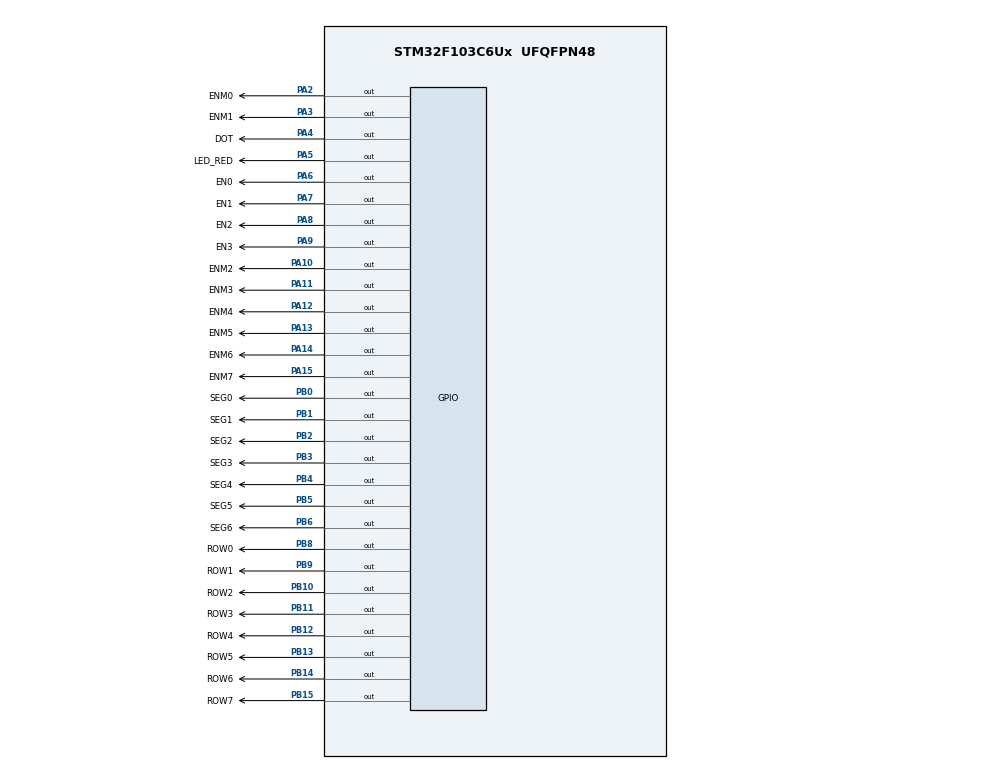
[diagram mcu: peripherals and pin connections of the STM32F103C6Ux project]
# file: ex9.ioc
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Mcu.Family=STM32F1
Mcu.Name=STM32F103C6Ux
Mcu.Package=UFQFPN48
NVIC.PriorityGroup=NVIC_PRIORITYGROUP_4
NVIC.TIM2_IRQn=true\:0\:0\:false\:false\:true\:true\:true
PA10.GPIO_Label=ENM2
PA10.Signal=GPIO_Output
PA11.GPIO_Label=ENM3
PA11.Signal=GPIO_Output
PA12.GPIO_Label=ENM4
PA12.Signal=GPIO_Output
PA13.GPIO_Label=ENM5
PA13.Signal=GPIO_Output
PA14.GPIO_Label=ENM6
PA14.Signal=GPIO_Output
PA15.GPIO_Label=ENM7
PA15.Signal=GPIO_Output
PA2.GPIO_Label=ENM0
PA2.Signal=GPIO_Output
PA3.GPIO_Label=ENM1
PA3.Signal=GPIO_Output
PA4.GPIO_Label=DOT
PA4.Signal=GPIO_Output
PA5.GPIO_Label=LED_RED
PA5.Signal=GPIO_Output
PA6.GPIO_Label=EN0
PA6.Signal=GPIO_Output
PA7.GPIO_Label=EN1
PA7.Signal=GPIO_Output
PA8.GPIO_Label=EN2
PA8.Signal=GPIO_Output
PA9.GPIO_Label=EN3
PA9.Signal=GPIO_Output
PB0.GPIO_Label=SEG0
PB0.Signal=GPIO_Output
PB1.GPIO_Label=SEG1
PB1.Signal=GPIO_Output
PB10.GPIO_Label=ROW2
PB10.Signal=GPIO_Output
PB11.GPIO_Label=ROW3
PB11.Signal=GPIO_Output
PB12.GPIO_Label=ROW4
PB12.Signal=GPIO_Output
PB13.GPIO_Label=ROW5
PB13.Signal=GPIO_Output
PB14.GPIO_Label=ROW6
PB14.Signal=GPIO_Output
PB15.GPIO_Label=ROW7
PB15.Signal=GPIO_Output
PB2.GPIO_Label=SEG2
PB2.Signal=GPIO_Output
PB3.GPIO_Label=SEG3
PB3.Signal=GPIO_Output
PB4.GPIO_Label=SEG4
PB4.Signal=GPIO_Output
PB5.GPIO_Label=SEG5
PB5.Signal=GPIO_Output
PB6.GPIO_Label=SEG6
PB6.Signal=GPIO_Output
PB8.GPIO_Label=ROW0
PB8.Signal=GPIO_Output
PB9.GPIO_Label=ROW1
PB9.Signal=GPIO_Output
ProjectManager.HeapSize=0x200
ProjectManager.StackSize=0x400
ProjectManager.TargetToolchain=STM32CubeIDE
RCC.APB1Freq_Value=8000000
RCC.APB2Freq_Value=8000000
TIM2.Period=9
TIM2.Prescaler=7999
VP_SYS_VS_ND.Mode=No_Debug
VP_TIM2_VS_ClockSourceINT.Mode=Internal
board=custom

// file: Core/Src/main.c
/* USER CODE BEGIN Header */
/**
  ******************************************************************************
  * @file           : main.c
  * @brief          : Main program body
  ******************************************************************************
  * @attention
  *
  * <h2><center>&copy; Copyright (c) 2023 STMicroelectronics.
  * All rights reserved.</center></h2>
  *
  * This software component is licensed by ST under BSD 3-Clause license,
  * the "License"; You may not use this file except in compliance with the
  * License. You may obtain a copy of the License at:
  *                        opensource.org/licenses/BSD-3-Clause
  *
  ******************************************************************************
  */
/* USER CODE END Header */
#include "main.h"

/* USER CODE BEGIN Includes */
#include "software_timer.h"
/* USER CODE END Includes */

TIM_HandleTypeDef htim2;

void SystemClock_Config(void);
static void MX_GPIO_Init(void);
static void MX_TIM2_Init(void);

/* USER CODE BEGIN 0 */
void display7SEG (int num, GPIO_TypeDef* LEDa_GPIO_Port, uint16_t LEDa_Pin,
		  GPIO_TypeDef* LEDb_GPIO_Port, uint16_t LEDb_Pin,
		  GPIO_TypeDef* LEDc_GPIO_Port, uint16_t LEDc_Pin,
		  GPIO_TypeDef* LEDd_GPIO_Port, uint16_t LEDd_Pin,
		  GPIO_TypeDef* LEDe_GPIO_Port, uint16_t LEDe_Pin,
		  GPIO_TypeDef* LEDf_GPIO_Port, uint16_t LEDf_Pin,
		  GPIO_TypeDef* LEDg_GPIO_Port, uint16_t LEDg_Pin)
{
	  switch(num)
	  {
	  case 0:
		  HAL_GPIO_WritePin(LEDa_GPIO_Port, LEDa_Pin, GPIO_PIN_RESET);
		  HAL_GPIO_WritePin(LEDb_GPIO_Port, LEDb_Pin, GPIO_PIN_RESET);
		  HAL_GPIO_WritePin(LEDc_GPIO_Port, LEDc_Pin, GPIO_PIN_RESET);
		  HAL_GPIO_WritePin(LEDd_GPIO_Port, LEDd_Pin, GPIO_PIN_RESET);
		  HAL_GPIO_WritePin(LEDe_GPIO_Port, LEDe_Pin, GPIO_PIN_RESET);
		  HAL_GPIO_WritePin(LEDf_GPIO_Port, LEDf_Pin, GPIO_PIN_RESET);
		  HAL_GPIO_WritePin(LEDg_GPIO_Port, LEDg_Pin, GPIO_PIN_SET);
		  break;
	  case 1:
		  HAL_GPIO_WritePin(LEDa_GPIO_Port, LEDa_Pin, GPIO_PIN_SET);
		  HAL_GPIO_WritePin(LEDb_GPIO_Port, LEDb_Pin, GPIO_PIN_RESET);
		  HAL_GPIO_WritePin(LEDc_GPIO_Port, LEDc_Pin, GPIO_PIN_RESET);
		  HAL_GPIO_WritePin(LEDd_GPIO_Port, LEDd_Pin, GPIO_PIN_SET);
		  HAL_GPIO_WritePin(LEDe_GPIO_Port, LEDe_Pin, GPIO_PIN_SET);
		  HAL_GPIO_WritePin(LEDf_GPIO_Port, LEDf_Pin, GPIO_PIN_SET);
		  HAL_GPIO_WritePin(LEDg_GPIO_Port, LEDg_Pin, GPIO_PIN_SET);
		  break;
	  case 2:
		  HAL_GPIO_WritePin(LEDa_GPIO_Port, LEDa_Pin, GPIO_PIN_RESET);
		  HAL_GPIO_WritePin(LEDb_GPIO_Port, LEDb_Pin, GPIO_PIN_RESET);
		  HAL_GPIO_WritePin(LEDc_GPIO_Port, LEDc_Pin, GPIO_PIN_SET);
		  HAL_GPIO_WritePin(LEDd_GPIO_Port, LEDd_Pin, GPIO_PIN_RESET);
		  HAL_GPIO_WritePin(LEDe_GPIO_Port, LEDe_Pin, GPIO_PIN_RESET);
		  HAL_GPIO_WritePin(LEDf_GPIO_Port, LEDf_Pin, GPIO_PIN_SET);
		  HAL_GPIO_WritePin(LEDg_GPIO_Port, LEDg_Pin, GPIO_PIN_RESET);
		  break;
	  case 3:
		  HAL_GPIO_WritePin(LEDa_GPIO_Port, LEDa_Pin, GPIO_PIN_RESET);
		  HAL_GPIO_WritePin(LEDb_GPIO_Port, LEDb_Pin, GPIO_PIN_RESET);
		  HAL_GPIO_WritePin(LEDc_GPIO_Port, LEDc_Pin, GPIO_PIN_RESET);
		  HAL_GPIO_WritePin(LEDd_GPIO_Port, LEDd_Pin, GPIO_PIN_RESET);
		  HAL_GPIO_WritePin(LEDe_GPIO_Port, LEDe_Pin, GPIO_PIN_SET);
		  HAL_GPIO_WritePin(LEDf_GPIO_Port, LEDf_Pin, GPIO_PIN_SET);
		  HAL_GPIO_WritePin(LEDg_GPIO_Port, LEDg_Pin, GPIO_PIN_RESET);
		  break;
	  case 4:
		  HAL_GPIO_WritePin(LEDa_GPIO_Port, LEDa_Pin, GPIO_PIN_SET);
		  HAL_GPIO_WritePin(LEDb_GPIO_Port, LEDb_Pin, GPIO_PIN_RESET);
		  HAL_GPIO_WritePin(LEDc_GPIO_Port, LEDc_Pin, GPIO_PIN_RESET);
		  HAL_GPIO_WritePin(LEDd_GPIO_Port, LEDd_Pin, GPIO_PIN_SET);
		  HAL_GPIO_WritePin(LEDe_GPIO_Port, LEDe_Pin, GPIO_PIN_SET);
		  HAL_GPIO_WritePin(LEDf_GPIO_Port, LEDf_Pin, GPIO_PIN_RESET);
		  HAL_GPIO_WritePin(LEDg_GPIO_Port, LEDg_Pin, GPIO_PIN_RESET);
		  break;
	  case 5:
		  HAL_GPIO_WritePin(LEDa_GPIO_Port, LEDa_Pin, GPIO_PIN_RESET);
		  HAL_GPIO_WritePin(LEDb_GPIO_Port, LEDb_Pin, GPIO_PIN_SET);
		  HAL_GPIO_WritePin(LEDc_GPIO_Port, LEDc_Pin, GPIO_PIN_RESET);
		  HAL_GPIO_WritePin(LEDd_GPIO_Port, LEDd_Pin, GPIO_PIN_RESET);
		  HAL_GPIO_WritePin(LEDe_GPIO_Port, LEDe_Pin, GPIO_PIN_SET);
		  HAL_GPIO_WritePin(LEDf_GPIO_Port, LEDf_Pin, GPIO_PIN_RESET);
		  HAL_GPIO_WritePin(LEDg_GPIO_Port, LEDg_Pin, GPIO_PIN_RESET);
		  break;
	  case 6:
		  HAL_GPIO_WritePin(LEDa_GPIO_Port, LEDa_Pin, GPIO_PIN_RESET);
		  HAL_GPIO_WritePin(LEDb_GPIO_Port, LEDb_Pin, GPIO_PIN_SET);
		  HAL_GPIO_WritePin(LEDc_GPIO_Port, LEDc_Pin, GPIO_PIN_RESET);
		  HAL_GPIO_WritePin(LEDd_GPIO_Port, LEDd_Pin, GPIO_PIN_RESET);
		  HAL_GPIO_WritePin(LEDe_GPIO_Port, LEDe_Pin, GPIO_PIN_RESET);
		  HAL_GPIO_WritePin(LEDf_GPIO_Port, LEDf_Pin, GPIO_PIN_RESET);
		  HAL_GPIO_WritePin(LEDg_GPIO_Port, LEDg_Pin, GPIO_PIN_RESET);
		  break;
	  case 7:
		  HAL_GPIO_WritePin(LEDa_GPIO_Port, LEDa_Pin, GPIO_PIN_RESET);
		  HAL_GPIO_WritePin(LEDb_GPIO_Port, LEDb_Pin, GPIO_PIN_RESET);
		  HAL_GPIO_WritePin(LEDc_GPIO_Port, LEDc_Pin, GPIO_PIN_RESET);
		  HAL_GPIO_WritePin(LEDd_GPIO_Port, LEDd_Pin, GPIO_PIN_SET);
		  HAL_GPIO_WritePin(LEDe_GPIO_Port, LEDe_Pin, GPIO_PIN_SET);
		  HAL_GPIO_WritePin(LEDf_GPIO_Port, LEDf_Pin, GPIO_PIN_SET);
		  HAL_GPIO_WritePin(LEDg_GPIO_Port, LEDg_Pin, GPIO_PIN_SET);
		  break;
	  case 8:
		  HAL_GPIO_WritePin(LEDa_GPIO_Port, LEDa_Pin, GPIO_PIN_RESET);
		  HAL_GPIO_WritePin(LEDb_GPIO_Port, LEDb_Pin, GPIO_PIN_RESET);
		  HAL_GPIO_WritePin(LEDc_GPIO_Port, LEDc_Pin, GPIO_PIN_RESET);
		  HAL_GPIO_WritePin(LEDd_GPIO_Port, LEDd_Pin, GPIO_PIN_RESET);
		  HAL_GPIO_WritePin(LEDe_GPIO_Port, LEDe_Pin, GPIO_PIN_RESET);
		  HAL_GPIO_WritePin(LEDf_GPIO_Port, LEDf_Pin, GPIO_PIN_RESET);
		  HAL_GPIO_WritePin(LEDg_GPIO_Port, LEDg_Pin, GPIO_PIN_RESET);
		  break;
	  case 9:
		  HAL_GPIO_WritePin(LEDa_GPIO_Port, LEDa_Pin, GPIO_PIN_RESET);
		  HAL_GPIO_WritePin(LEDb_GPIO_Port, LEDb_Pin, GPIO_PIN_RESET);
		  HAL_GPIO_WritePin(LEDc_GPIO_Port, LEDc_Pin, GPIO_PIN_RESET);
		  HAL_GPIO_WritePin(LEDd_GPIO_Port, LEDd_Pin, GPIO_PIN_RESET);
		  HAL_GPIO_WritePin(LEDe_GPIO_Port, LEDe_Pin, GPIO_PIN_SET);
		  HAL_GPIO_WritePin(LEDf_GPIO_Port, LEDf_Pin, GPIO_PIN_RESET);
		  HAL_GPIO_WritePin(LEDg_GPIO_Port, LEDg_Pin, GPIO_PIN_RESET);
		  break;
	  }
}
/* USER CODE END 0 */

int main(void)
{
  /* USER CODE BEGIN 1 */
	  setTimer(50, 0);
	  setTimer(100, 1);
	  setTimer(10, 2);
	  setTimer(10, 3);

  /* USER CODE END 1 */

  /* MCU Configuration--------------------------------------------------------*/

  /* Reset of all peripherals, Initializes the Flash interface and the Systick. */
  HAL_Init();

  /* Configure the system clock */
  SystemClock_Config();

  /* Initialize all configured peripherals */
  MX_GPIO_Init();
  MX_TIM2_Init();
  /* USER CODE BEGIN 2 */
    HAL_TIM_Base_Start_IT(&htim2);
    const int MAX_LED = 4;
    int index_led = 0;
    int led_buffer [4] = {1 , 5 , 0 , 8};
    void update7SEG(int index){
      	switch (index) {
      		case 0:
      			HAL_GPIO_WritePin(EN0_GPIO_Port, EN0_Pin, RESET);
      			HAL_GPIO_WritePin(EN1_GPIO_Port, EN1_Pin, SET);
      			HAL_GPIO_WritePin(EN2_GPIO_Port, EN2_Pin, SET);
      			HAL_GPIO_WritePin(EN3_GPIO_Port, EN3_Pin, SET);
      			break;
      		case 1:
      			HAL_GPIO_WritePin(EN0_GPIO_Port, EN0_Pin, SET);
      			HAL_GPIO_WritePin(EN1_GPIO_Port, EN1_Pin, RESET);
      			HAL_GPIO_WritePin(EN2_GPIO_Port, EN2_Pin, SET);
      			HAL_GPIO_WritePin(EN3_GPIO_Port, EN3_Pin, SET);
      			break;
      		case 2:
      			HAL_GPIO_WritePin(EN0_GPIO_Port, EN0_Pin, SET);
      			HAL_GPIO_WritePin(EN1_GPIO_Port, EN1_Pin, SET);
      			HAL_GPIO_WritePin(EN2_GPIO_Port, EN2_Pin, RESET);
      			HAL_GPIO_WritePin(EN3_GPIO_Port, EN3_Pin, SET);
      			break;
      		case 3:
      			HAL_GPIO_WritePin(EN0_GPIO_Port, EN0_Pin, SET);
      			HAL_GPIO_WritePin(EN1_GPIO_Port, EN1_Pin, SET);
      			HAL_GPIO_WritePin(EN2_GPIO_Port, EN2_Pin, SET);
      			HAL_GPIO_WritePin(EN3_GPIO_Port, EN3_Pin, RESET);
      			break;
      		default:
      			break;
      	}
      	display7SEG(led_buffer[index],SEG0_GPIO_Port, SEG0_Pin,
      			SEG1_GPIO_Port, SEG1_Pin,
      			SEG2_GPIO_Port, SEG2_Pin,
      			SEG3_GPIO_Port, SEG3_Pin,
      			SEG4_GPIO_Port, SEG4_Pin,
      			SEG5_GPIO_Port, SEG5_Pin,
      			SEG6_GPIO_Port, SEG6_Pin);
      }
      int hour=15, minute=8, second=50;
      void updateClockBuffer(){
        led_buffer[0]=hour/10;
        led_buffer[1]=hour%10;
        led_buffer[2]=minute/10;
        led_buffer[3]=minute%10;
      }
      void clearCols(){
      	HAL_GPIO_WritePin(GPIOA, ENM0_Pin, SET);
      	HAL_GPIO_WritePin(GPIOA, ENM1_Pin, SET);
      	HAL_GPIO_WritePin(GPIOA, ENM2_Pin, SET);
      	HAL_GPIO_WritePin(GPIOA, ENM3_Pin, SET);
      	HAL_GPIO_WritePin(GPIOA, ENM4_Pin, SET);
      	HAL_GPIO_WritePin(GPIOA, ENM5_Pin, SET);
      	HAL_GPIO_WritePin(GPIOA, ENM6_Pin, SET);
      	HAL_GPIO_WritePin(GPIOA, ENM7_Pin, SET);
      }
      void clearRows(){
      	HAL_GPIO_WritePin(GPIOB, ROW0_Pin, SET);
      	HAL_GPIO_WritePin(GPIOB, ROW1_Pin, SET);
      	HAL_GPIO_WritePin(GPIOB, ROW2_Pin, SET);
      	HAL_GPIO_WritePin(GPIOB, ROW3_Pin, SET);
      	HAL_GPIO_WritePin(GPIOB, ROW4_Pin, SET);
      	HAL_GPIO_WritePin(GPIOB, ROW5_Pin, SET);
      	HAL_GPIO_WritePin(GPIOB, ROW6_Pin, SET);
      	HAL_GPIO_WritePin(GPIOB, ROW7_Pin, SET);
      }
      void setRow(uint8_t code){
    	  if((code >> 0) & 0x01)
    		  HAL_GPIO_WritePin(ROW7_GPIO_Port, ROW7_Pin, RESET);
    	  if((code >> 1) & 0x01)
    		  HAL_GPIO_WritePin(ROW6_GPIO_Port, ROW6_Pin, RESET);
    	  if((code >> 2) & 0x01)
    		  HAL_GPIO_WritePin(ROW5_GPIO_Port, ROW5_Pin, RESET);
    	  if((code >> 3) & 0x01)
    		  HAL_GPIO_WritePin(ROW4_GPIO_Port, ROW4_Pin, RESET);
    	  if((code >> 4) & 0x01)
    		  HAL_GPIO_WritePin(ROW3_GPIO_Port, ROW3_Pin, RESET);
		  if((code >> 5) & 0x01)
			  HAL_GPIO_WritePin(ROW2_GPIO_Port, ROW2_Pin, RESET);
		  if((code >> 6) & 0x01)
			  HAL_GPIO_WritePin(ROW1_GPIO_Port, ROW1_Pin, RESET);
		  if((code >> 7) & 0x01)
			  HAL_GPIO_WritePin(ROW0_GPIO_Port, ROW0_Pin, RESET);
      }
      const int MAX_LED_MATRIX = 8;
      int index_led_matrix = 0;
      uint8_t matrix_buffer[8] = {0x18,0x3C,0x66,0x66,0x7E,0x66,0x66,0x66};
      void updateLEDMatrix(int index_led_matrix){
    	  	clearCols();
      		clearRows();
      		switch(index_led_matrix){
      		case 0:
      			HAL_GPIO_WritePin(GPIOA, ENM0_Pin, RESET);
      			break;
      		case 1:
      			HAL_GPIO_WritePin(GPIOA, ENM1_Pin, RESET);
      			break;
      		case 2:
      			HAL_GPIO_WritePin(GPIOA, ENM2_Pin, RESET);
      			break;
      		case 3:
      			HAL_GPIO_WritePin(GPIOA, ENM3_Pin, RESET);
      			break;
      		case 4:
      			HAL_GPIO_WritePin(GPIOA, ENM4_Pin, RESET);
      			break;
      		case 5:
      			HAL_GPIO_WritePin(GPIOA, ENM5_Pin, RESET);
      			break;
      		case 6:
      			HAL_GPIO_WritePin(GPIOA, ENM6_Pin, RESET);
      			break;
      		case 7:
      			HAL_GPIO_WritePin(GPIOA, ENM7_Pin, RESET);
      			break;
      		default:
      			break;
      	}
      	setRow(matrix_buffer[index_led_matrix]);
      }
  /* USER CODE END 2 */

  /* Infinite loop */
  /* USER CODE BEGIN WHILE */
  while (1)
  {
	  if (timer_flag[0] == 1)
	  {
	  		HAL_GPIO_TogglePin(DOT_GPIO_Port, DOT_Pin);
	  		HAL_GPIO_TogglePin(LED_RED_GPIO_Port, LED_RED_Pin);
	  		setTimer(50,0);
	  }
	  if (timer_flag[1] == 1)
	  {
	  		second++;
	  		if (second >= 60)
	  		{
	  			second = 0;
	  		  	minute++;
	  		}
	  		if (minute >= 60)
	  		{
	  		  	hour++;
	  		  	minute = 0;
	  		}
	  		if (hour >= 24) hour = 0;

	  		updateClockBuffer();
	  		setTimer(100,1);
	  }
	  if (timer_flag[2] == 1)
	  {
	  		update7SEG(index_led++);
	  		if(index_led == MAX_LED){
	  			index_led=0;
	  		}
	  		setTimer(10,2);
	  }
	  if(timer_flag[3] == 1){
		  	updateLEDMatrix(index_led_matrix++);
		  	if(index_led_matrix == MAX_LED_MATRIX)
		  	{
		  		index_led_matrix = 0;

		  	}
		  	setTimer(10, 3);
	  }
    /* USER CODE END WHILE */

  }
}

void SystemClock_Config(void)
{
  RCC_OscInitTypeDef RCC_OscInitStruct = {0};
  RCC_ClkInitTypeDef RCC_ClkInitStruct = {0};

  /** Initializes the RCC Oscillators according to the specified parameters
  * in the RCC_OscInitTypeDef structure.
  */
  RCC_OscInitStruct.OscillatorType = RCC_OSCILLATORTYPE_HSI;
  RCC_OscInitStruct.HSIState = RCC_HSI_ON;
  RCC_OscInitStruct.HSICalibrationValue = RCC_HSICALIBRATION_DEFAULT;
  RCC_OscInitStruct.PLL.PLLState = RCC_PLL_NONE;
  if (HAL_RCC_OscConfig(&RCC_OscInitStruct) != HAL_OK)
  {
    Error_Handler();
  }
  /** Initializes the CPU, AHB and APB buses clocks
  */
  RCC_ClkInitStruct.ClockType = RCC_CLOCKTYPE_HCLK|RCC_CLOCKTYPE_SYSCLK
                              |RCC_CLOCKTYPE_PCLK1|RCC_CLOCKTYPE_PCLK2;
  RCC_ClkInitStruct.SYSCLKSource = RCC_SYSCLKSOURCE_HSI;
  RCC_ClkInitStruct.AHBCLKDivider = RCC_SYSCLK_DIV1;
  RCC_ClkInitStruct.APB1CLKDivider = RCC_HCLK_DIV1;
  RCC_ClkInitStruct.APB2CLKDivider = RCC_HCLK_DIV1;

  if (HAL_RCC_ClockConfig(&RCC_ClkInitStruct, FLASH_LATENCY_0) != HAL_OK)
  {
    Error_Handler();
  }
}

static void MX_TIM2_Init(void)
{

  TIM_ClockConfigTypeDef sClockSourceConfig = {0};
  TIM_MasterConfigTypeDef sMasterConfig = {0};

  htim2.Instance = TIM2;
  htim2.Init.Prescaler = 7999;
  htim2.Init.CounterMode = TIM_COUNTERMODE_UP;
  htim2.Init.Period = 9;
  htim2.Init.ClockDivision = TIM_CLOCKDIVISION_DIV1;
  htim2.Init.AutoReloadPreload = TIM_AUTORELOAD_PRELOAD_DISABLE;
  if (HAL_TIM_Base_Init(&htim2) != HAL_OK)
  {
    Error_Handler();
  }
  sClockSourceConfig.ClockSource = TIM_CLOCKSOURCE_INTERNAL;
  if (HAL_TIM_ConfigClockSource(&htim2, &sClockSourceConfig) != HAL_OK)
  {
    Error_Handler();
  }
  sMasterConfig.MasterOutputTrigger = TIM_TRGO_RESET;
  sMasterConfig.MasterSlaveMode = TIM_MASTERSLAVEMODE_DISABLE;
  if (HAL_TIMEx_MasterConfigSynchronization(&htim2, &sMasterConfig) != HAL_OK)
  {
    Error_Handler();
  }

}

static void MX_GPIO_Init(void)
{
  GPIO_InitTypeDef GPIO_InitStruct = {0};

  /* GPIO Ports Clock Enable */
  __HAL_RCC_GPIOA_CLK_ENABLE();
  __HAL_RCC_GPIOB_CLK_ENABLE();

  /*Configure GPIO pin Output Level */
  HAL_GPIO_WritePin(GPIOA, ENM0_Pin|ENM1_Pin|DOT_Pin|LED_RED_Pin
                          |EN0_Pin|EN1_Pin|EN2_Pin|EN3_Pin
                          |ENM2_Pin|ENM3_Pin|ENM4_Pin|ENM5_Pin
                          |ENM6_Pin|ENM7_Pin, GPIO_PIN_RESET);

  /*Configure GPIO pin Output Level */
  HAL_GPIO_WritePin(GPIOB, SEG0_Pin|SEG1_Pin|SEG2_Pin|ROW2_Pin
                          |ROW3_Pin|ROW4_Pin|ROW5_Pin|ROW6_Pin
                          |ROW7_Pin|SEG3_Pin|SEG4_Pin|SEG5_Pin
                          |SEG6_Pin|ROW0_Pin|ROW1_Pin, GPIO_PIN_RESET);

  /*Configure GPIO pins : ENM0_Pin ENM1_Pin DOT_Pin LED_RED_Pin
                           EN0_Pin EN1_Pin EN2_Pin EN3_Pin
                           ENM2_Pin ENM3_Pin ENM4_Pin ENM5_Pin
                           ENM6_Pin ENM7_Pin */
  GPIO_InitStruct.Pin = ENM0_Pin|ENM1_Pin|DOT_Pin|LED_RED_Pin
                          |EN0_Pin|EN1_Pin|EN2_Pin|EN3_Pin
                          |ENM2_Pin|ENM3_Pin|ENM4_Pin|ENM5_Pin
                          |ENM6_Pin|ENM7_Pin;
  GPIO_InitStruct.Mode = GPIO_MODE_OUTPUT_PP;
  GPIO_InitStruct.Pull = GPIO_NOPULL;
  GPIO_InitStruct.Speed = GPIO_SPEED_FREQ_LOW;
  HAL_GPIO_Init(GPIOA, &GPIO_InitStruct);

  /*Configure GPIO pins : SEG0_Pin SEG1_Pin SEG2_Pin ROW2_Pin
                           ROW3_Pin ROW4_Pin ROW5_Pin ROW6_Pin
                           ROW7_Pin SEG3_Pin SEG4_Pin SEG5_Pin
                           SEG6_Pin ROW0_Pin ROW1_Pin */
  GPIO_InitStruct.Pin = SEG0_Pin|SEG1_Pin|SEG2_Pin|ROW2_Pin
                          |ROW3_Pin|ROW4_Pin|ROW5_Pin|ROW6_Pin
                          |ROW7_Pin|SEG3_Pin|SEG4_Pin|SEG5_Pin
                          |SEG6_Pin|ROW0_Pin|ROW1_Pin;
  GPIO_InitStruct.Mode = GPIO_MODE_OUTPUT_PP;
  GPIO_InitStruct.Pull = GPIO_NOPULL;
  GPIO_InitStruct.Speed = GPIO_SPEED_FREQ_LOW;
  HAL_GPIO_Init(GPIOB, &GPIO_InitStruct);

}

/* USER CODE BEGIN 4 */
void HAL_TIM_PeriodElapsedCallback(TIM_HandleTypeDef *htim){
	timer_run(0);
	timer_run(1);
	timer_run(2);
	timer_run(3);

};
/* USER CODE END 4 */

void Error_Handler(void)
{
  __disable_irq();
  while (1)
  {
  }
}

/************************ (C) COPYRIGHT STMicroelectronics *****END OF FILE****/
